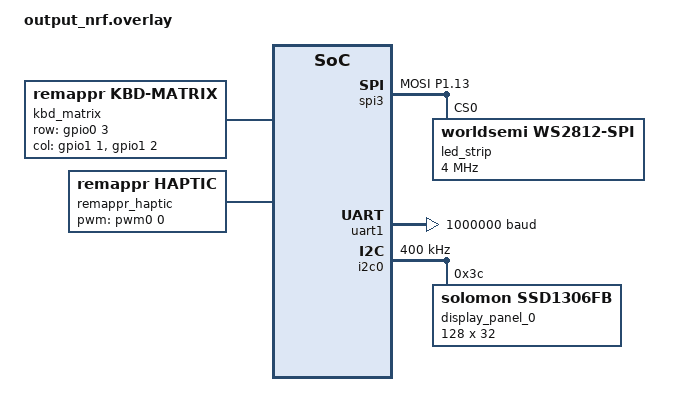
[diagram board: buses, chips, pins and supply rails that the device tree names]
/*
 * Output nRF — Remappr shield (generated by remappr).
 *
 * Drop this directory into a remappr-firmware checkout under
 * boards/shields/output_nrf/ and build with -Dremappr_SHIELD=output_nrf. Verify the
 * row/col GPIO specs against your wiring — remappr derives the matrix
 * cells from physical key position, not the electrical matrix.
 *
 * SPDX-License-Identifier: Apache-2.0
 */

#include <zephyr/dt-bindings/input/input-event-codes.h>
#include <zephyr/dt-bindings/input/keymap.h>
#include <dt-bindings/remappr/keys.h>
#include <dt-bindings/remappr/layout.h>
#include <remappr/keymap-tokens.dtsi>
#include <remappr/behavior-tokens.dtsi>
#include <zephyr/dt-bindings/led/led.h>
#include <zephyr/dt-bindings/pwm/pwm.h>
#include <dt-bindings/remappr/sensor.h>

/ {
	kbd_matrix: kbd-matrix {
		compatible = "remappr,kbd-matrix";
		diode-direction = "col2row";
		poll-period-ms = <1>;
		sleep-poll-period-ms = <20>;
		settle-time-us = <30>;
		debounce-press-mode = "defer";
		debounce-press-ms = <5>;
		debounce-release-ms = <10>;
		row-gpios =
			<&gpio0 3 (GPIO_ACTIVE_HIGH | GPIO_PULL_DOWN)>;
		col-gpios =
			<&gpio1 1 GPIO_ACTIVE_HIGH>,
			<&gpio1 2 GPIO_ACTIVE_HIGH>;

		keymap {
			compatible = "input-keymap";
			keymap = <
				MATRIX_KEY(0, 0, REMAPPR_KB_POS_BASE + 0) MATRIX_KEY(0, 1, REMAPPR_KB_POS_BASE + 1)
			>;
			row-size = <1>;
			col-size = <2>;
		};
	};

	remappr_keymap: remappr-keymap {
		compatible = "remappr,keymap";
		scan = <&kbd_matrix>;
		columns = <2>;
		rows = <2>;
		max-layers = <4>;
		placement = <
				KEY(&x 0 &y 0) KEY(&x 1 &y 0)
		>;
		layer_0 {
			compatible = "remappr,keymap-layer";
			index = <0>;
			actions = <
				&key 0x04 &key 0x05
			>;
		};
	};
};

&pinctrl {
	spi3_default: spi3_default {
		group1 {
			psels = <NRF_PSEL(SPIM_MOSI, 1, 13)>;
		};
	};
	spi3_sleep: spi3_sleep {
		group1 {
			psels = <NRF_PSEL(SPIM_MOSI, 1, 13)>;
			low-power-enable;
		};
	};
};

&spi3 {
	compatible = "nordic,nrf-spim";
	status = "okay";
	pinctrl-0 = <&spi3_default>;
	pinctrl-1 = <&spi3_sleep>;
	pinctrl-names = "default", "sleep";

	led_strip: ws2812@0 {
		compatible = "worldsemi,ws2812-spi";
		reg = <0>;
		spi-max-frequency = <4000000>;
		chain-length = <12>;
		/* One low lead-in bit, then the pulse: 4000000 Hz SPI clock. */
		spi-one-frame = <0x70>;
		spi-zero-frame = <0x40>;
		color-mapping = <LED_COLOR_ID_GREEN LED_COLOR_ID_RED LED_COLOR_ID_BLUE>;
	};
};

/ {
	chosen {
		/* Runtime RGB service renders the per-key map / effects here. */
		remappr,led-strip = &led_strip;
	};
};

&uart1 {
	current-speed = <1000000>;
	status = "okay";
};

/ {
	node_bus_0: node_bus_0 {
		compatible = "remappr,node-bus-port";
		uart = <&uart1>;
		direction = "downstream";
	};
};

/ {
	remappr_haptic: haptic {
		compatible = "remappr,haptic";
		pwms = <&pwm0 0 20000000 PWM_POLARITY_NORMAL>;
	};
};

/ {
	backlight_zone: zone_0 {
		compatible = "remappr,led-zone";
		target = "backlight";
		offset = <0>;
		length = <8>;
	};
	indicator_zone: zone_1 {
		compatible = "remappr,led-zone";
		target = "indicator";
		offset = <8>;
		length = <4>;
	};
};

&i2c0 {
	status = "okay";
	clock-frequency = <400000>;

	display_panel_0: ssd1306fb@3c {
		compatible = "solomon,ssd1306fb";
		reg = <0x3c>;
		width = <128>;
		height = <32>;
		segment-offset = <0>;
		page-offset = <0>;
		display-offset = <0>;
		multiplex-ratio = <31>;
		prechargep = <34>;
		segment-remap;
		com-invdir;
		com-sequential;
	};
};

/ {
	display_0: display_0 {
		compatible = "remappr,display";
		display = <&display_panel_0>;
	};
};
